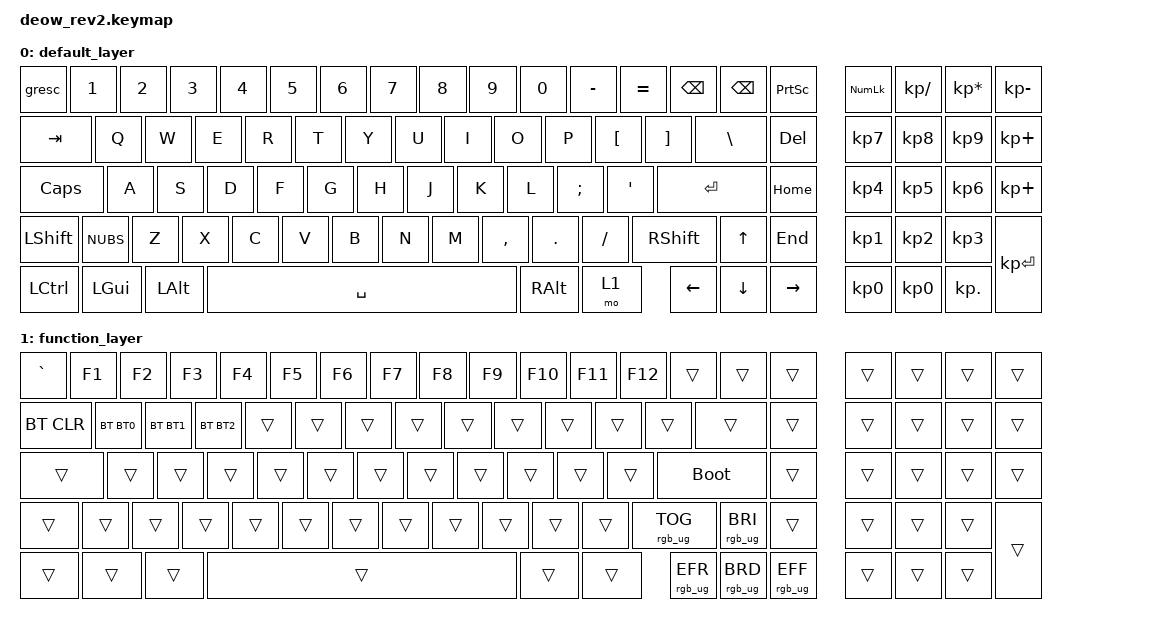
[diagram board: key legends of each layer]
/*
 * Copyright (c) 2024 Deemen17 Works
 *
 * SPDX-License-Identifier: MIT
 */

#include <behaviors.dtsi>
#include <dt-bindings/zmk/keys.h>
#include <dt-bindings/zmk/rgb.h>
#include <dt-bindings/zmk/bt.h>
#include <dt-bindings/zmk/ext_power.h>

#define BT0 BT_SEL 0
#define BT1 BT_SEL 1
#define BT2 BT_SEL 2

/ {
    keymap {
        compatible = "zmk,keymap";

        default_layer {
            bindings = <
    &gresc     &kp N1   &kp N2 &kp N3 &kp N4 &kp N5 &kp N6 &kp N7 &kp N8 &kp N9     &kp N0      &kp MINUS   &kp EQUAL &kp BSPC  &kp BSPC    &kp PSCRN       &kp KP_NUM  &kp KP_SLASH    &kp KP_MULTIPLY &kp KP_MINUS
    &kp TAB    &kp Q    &kp W  &kp E  &kp R  &kp T  &kp Y  &kp U  &kp I  &kp O      &kp P       &kp LBKT    &kp RBKT  &kp BSLH              &kp DEL         &kp KP_N7   &kp KP_N8       &kp KP_N9       &kp KP_PLUS
    &kp CLCK   &kp A    &kp S  &kp D  &kp F  &kp G  &kp H  &kp J  &kp K  &kp L      &kp SEMI    &kp SQT               &kp RET               &kp HOME        &kp KP_N4   &kp KP_N5       &kp KP_N6       &kp KP_PLUS
    &kp LSHFT  &kp NUBS &kp Z  &kp X  &kp C  &kp V  &kp B  &kp N  &kp M  &kp COMMA  &kp DOT     &kp FSLH    &kp RSHFT &kp UP                &kp END         &kp KP_N1   &kp KP_N2       &kp KP_N3       &kp KP_ENTER
    &kp LCTRL  &kp LGUI &kp LALT                    &kp SPACE                       &kp RALT    &mo 1       &kp LEFT  &kp DOWN  &kp RIGHT                   &kp KP_N0   &kp KP_N0       &kp KP_DOT      
            >;
        };

        function_layer {
            bindings = <
    &kp GRAVE  &kp F1  &kp F2  &kp F3  &kp F4  &kp F5  &kp F6  &kp F7  &kp F8  &kp F9  &kp F10 &kp F11 &kp F12 &trans  &trans          &trans           &trans  &trans  &trans  &trans
    &bt BT_CLR &bt BT0 &bt BT1 &bt BT2 &trans  &trans  &trans  &trans  &trans  &trans  &trans  &trans  &trans          &trans          &trans           &trans  &trans  &trans  &trans
    &trans     &trans  &trans  &trans  &trans  &trans  &trans  &trans  &trans  &trans  &trans  &trans                  &bootloader     &trans           &trans  &trans  &trans  &trans
    &trans     &trans  &trans  &trans  &trans  &trans  &trans  &trans  &trans  &trans  &trans  &trans  &rgb_ug RGB_TOG &rgb_ug RGB_BRI &trans           &trans  &trans  &trans  &trans
    &trans     &trans  &trans                          &trans                          &trans  &trans  &rgb_ug RGB_EFR &rgb_ug RGB_BRD &rgb_ug RGB_EFF  &trans  &trans  &trans  
            >;
        };

    };
};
